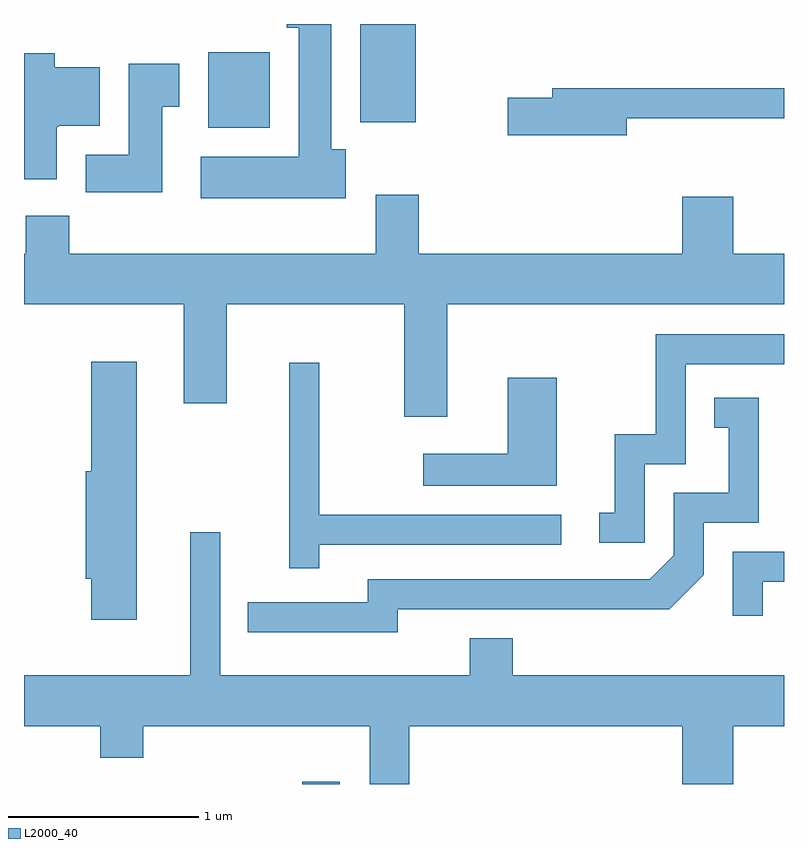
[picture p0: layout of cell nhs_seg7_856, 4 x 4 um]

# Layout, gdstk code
import gdstk
lib = gdstk.Library(unit=1e-6, precision=1e-09)
def R(c, l, rs):  # rectangles x0, y0, x1, y1
    for r in rs: c.add(gdstk.rectangle(r[:2], r[2:], *l))
def P(c, l, *ps):  # polygons
    for p in ps: c.add(gdstk.Polygon(p, *l))
L2000_40 = (2000, 40)

nhs_seg7_856 = lib.new_cell('nhs_seg7_856')
R(nhs_seg7_856, L2000_40, [(213.076,1696.252,213.274,1696.264), (212.581,1699.706,212.904,1700.104), (213.381,1699.736,213.674,1700.252)])
P(nhs_seg7_856, L2000_40, [(213.304,1699.594),(213.229,1699.594),(213.229,1700.252),(212.993,1700.252),(212.993,1700.231),(213.056,1700.231),(213.056,1699.554),(212.541,1699.554),(212.541,1699.336),(213.304,1699.336)],
  [(211.784,1699.71),(211.79,1699.71),(211.79,1699.716),(212.009,1699.716),(212.009,1700.024),(211.774,1700.024),(211.774,1700.099),(211.611,1700.099),(211.611,1699.436),(211.784,1699.436)],
  [(212.339,1699.816),(212.429,1699.816),(212.429,1700.044),(212.161,1700.044),(212.161,1699.564),(211.936,1699.564),(211.936,1699.366),(212.339,1699.366)],
  [(214.784,1699.756),(215.611,1699.756),(215.611,1699.914),(214.391,1699.914),(214.391,1699.864),(214.156,1699.864),(214.156,1699.666),(214.784,1699.666)],
  [(213.839,1698.776),(215.611,1698.776),(215.611,1699.044),(215.344,1699.044),(215.344,1699.344),(215.076,1699.344),(215.076,1699.044),(213.689,1699.044),(213.689,1699.354),(213.461,1699.354),(213.461,1699.044),(211.849,1699.044),(211.849,1699.244),(211.621,1699.244),(211.621,1699.044),(211.611,1699.044),(211.611,1698.776),(212.451,1698.776),(212.451,1698.256),(212.679,1698.256),(212.679,1698.776),(213.611,1698.776),(213.611,1698.186),(213.839,1698.186)],
  [(214.879,1697.936),(215.094,1697.936),(215.094,1698.461),(215.611,1698.461),(215.611,1698.619),(214.936,1698.619),(214.936,1698.094),(214.721,1698.094),(214.721,1697.679),(214.638,1697.679),(214.638,1697.521),(214.879,1697.521)],
  [(212.204,1698.474),(211.966,1698.474),(211.966,1697.899),(211.936,1697.899),(211.936,1697.331),(211.966,1697.331),(211.966,1697.116),(212.204,1697.116)],
  [(213.164,1697.511),(214.438,1697.511),(214.438,1697.669),(213.164,1697.669),(213.164,1698.468),(213.006,1698.468),(213.006,1697.388),(213.164,1697.388)],
  [(214.414,1698.389),(214.156,1698.389),(214.156,1697.989),(213.713,1697.989),(213.713,1697.821),(214.414,1697.821)],
  [(213.579,1697.171),(215.007,1697.171),(215.189,1697.354),(215.189,1697.626),(215.479,1697.626),(215.479,1698.284),(215.243,1698.284),(215.243,1698.126),(215.321,1698.126),(215.321,1697.784),(215.031,1697.784),(215.031,1697.457),(214.904,1697.329),(213.421,1697.329),(213.421,1697.209),(212.788,1697.209),(212.788,1697.051),(213.579,1697.051)],
  [(213.639,1696.556),(215.076,1696.556),(215.076,1696.252),(215.344,1696.252),(215.344,1696.556),(215.611,1696.556),(215.611,1696.824),(214.184,1696.824),(214.184,1697.019),(213.956,1697.019),(213.956,1696.824),(212.644,1696.824),(212.644,1697.578),(212.486,1697.578),(212.486,1696.824),(211.611,1696.824),(211.611,1696.556),(212.011,1696.556),(212.011,1696.391),(212.239,1696.391),(212.239,1696.556),(213.431,1696.556),(213.431,1696.252),(213.639,1696.252)],
  [(215.499,1697.316),(215.611,1697.316),(215.611,1697.474),(215.341,1697.474),(215.341,1697.138),(215.499,1697.138)])

lib.write_gds('nhs_seg7_856.gds')
